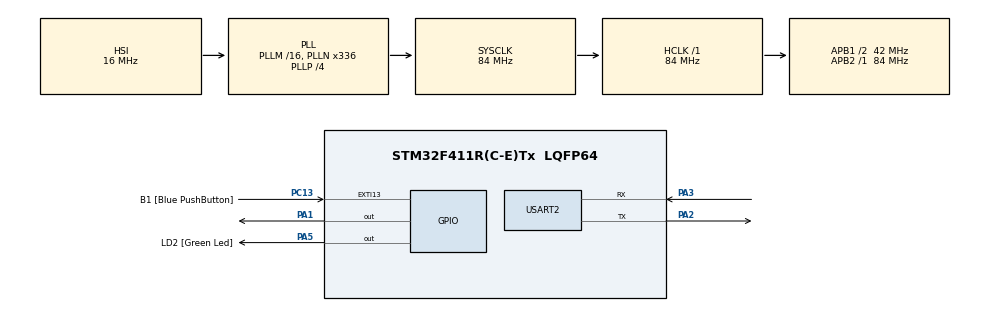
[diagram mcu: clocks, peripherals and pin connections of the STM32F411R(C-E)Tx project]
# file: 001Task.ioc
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Mcu.Family=STM32F4
Mcu.Name=STM32F411R(C-E)Tx
Mcu.Package=LQFP64
NVIC.PriorityGroup=NVIC_PRIORITYGROUP_4
NVIC.TIM1_BRK_TIM9_IRQn=true\:0\:0\:false\:false\:true\:false\:true\:true
NVIC.TimeBase=TIM1_BRK_TIM9_IRQn
NVIC.TimeBaseIP=TIM9
NVIC.USART2_IRQn=true\:0\:0\:false\:false\:true\:true\:true\:true
PA1.Signal=GPIO_Output
PA13.GPIO_Label=TMS
PA13.Signal=SYS_JTMS-SWDIO
PA14.GPIO_Label=TCK
PA14.Signal=SYS_JTCK-SWCLK
PA2.Mode=Asynchronous
PA2.Signal=USART2_TX
PA3.Mode=Asynchronous
PA3.Signal=USART2_RX
PA5.GPIO_Label=LD2 [Green Led]
PA5.Signal=GPIO_Output
PB3.GPIO_Label=SWO
PB3.Signal=SYS_JTDO-SWO
PC13-ANTI_TAMP.GPIO_Label=B1 [Blue PushButton]
PC13-ANTI_TAMP.GPIO_ModeDefaultEXTI=GPIO_MODE_IT_FALLING
PC13-ANTI_TAMP.Signal=GPXTI13
PC14-OSC32_IN.Signal=RCC_OSC32_IN
PC15-OSC32_OUT.Signal=RCC_OSC32_OUT
PH0\ -\ OSC_IN.Signal=RCC_OSC_IN
PH1\ -\ OSC_OUT.Signal=RCC_OSC_OUT
ProjectManager.HeapSize=0x200
ProjectManager.StackSize=0x400
ProjectManager.TargetToolchain=STM32CubeIDE
RCC.48MHZClocksFreq_Value=84000000
RCC.AHBFreq_Value=84000000
RCC.APB1CLKDivider=RCC_HCLK_DIV2
RCC.APB1Freq_Value=42000000
RCC.APB1TimFreq_Value=84000000
RCC.APB2Freq_Value=84000000
RCC.APB2TimFreq_Value=84000000
RCC.CortexFreq_Value=84000000
RCC.FLatency-AdvancedSettings=FLASH_LATENCY_2
RCC.HCLKFreq_Value=84000000
RCC.HSE_VALUE=8000000
RCC.HSI_VALUE=16000000
RCC.LSE_VALUE=32768
RCC.PLLN=336
RCC.PLLP=RCC_PLLP_DIV4
RCC.SYSCLKFreq_VALUE=84000000
RCC.SYSCLKSource=RCC_SYSCLKSOURCE_PLLCLK
RCC.VCOOutputFreq_Value=336000000
USART2.VirtualMode=VM_ASYNC
VP_SYS_VS_tim9.Mode=TIM9
board=NUCLEO-F411RE

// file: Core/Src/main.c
/* USER CODE BEGIN Header */
/**
  ******************************************************************************
  * @file           : main.c
  * @brief          : Main program body
  ******************************************************************************
  * @attention
  *
  * Copyright (c) 2026 STMicroelectronics.
  * All rights reserved.
  *
  * This software is licensed under terms that can be found in the LICENSE file
  * in the root directory of this software component.
  * If no LICENSE file comes with this software, it is provided AS-IS.
  *
  ******************************************************************************
  */
/* USER CODE END Header */
#include "main.h"

/* USER CODE BEGIN Includes */
#include "FreeRTOS.h"
#include "task.h"
#include "shell.h"
#include <stdio.h>
/* USER CODE END Includes */

UART_HandleTypeDef huart2;

/* USER CODE BEGIN PV */
#define DWT_CTRL (*(volatile uint32_t*)0xE0001000)
/* USER CODE END PV */

void SystemClock_Config(void);
static void MX_GPIO_Init(void);
static void MX_USART2_UART_Init(void);
/* USER CODE BEGIN PFP */
//static void task1_handler(void* parameters);
//static void task2_handler(void* parameters);
//static void task3_handler(void* parameters);

/* USER CODE END PFP */

int main(void)
{

  /* USER CODE BEGIN 1 */
	//TaskHandle_t task1_handle;
	//TaskHandle_t task2_handle;
	//TaskHandle_t task3_handle;

	BaseType_t status;
  /* USER CODE END 1 */

  /* MCU Configuration--------------------------------------------------------*/

  /* Reset of all peripherals, Initializes the Flash interface and the Systick. */
  HAL_Init();

  /* Configure the system clock */
  SystemClock_Config();

  /* Initialize all configured peripherals */
  MX_GPIO_Init();
  MX_USART2_UART_Init();
  /* USER CODE BEGIN 2 */

  DWT_CTRL |= (1<<0);

  SEGGER_SYSVIEW_Conf();

  SEGGER_SYSVIEW_Start();

  /*status = xTaskCreate(task1_handler, "Task-1", 200, "Running Task 1", 2, &task1_handle);

  configASSERT(status == pdPASS);

  status = xTaskCreate(task2_handler, "Task-2", 200, "Running Task 2", 3, &task2_handle);

  configASSERT(status == pdPASS);

  status = xTaskCreate(task3_handler, "Task-3", 200, "Running Task 3", 1, &task3_handle);*/

  HAL_NVIC_SetPriority(USART2_IRQn, 6, 0);
  HAL_NVIC_EnableIRQ(USART2_IRQn);
  xCmdQueue  = xQueueCreate(SHELL_QUEUE_LEN, SHELL_CMD_LEN);
  xUartMutex = xSemaphoreCreateMutex();
  configASSERT(xCmdQueue  != NULL);
  configASSERT(xUartMutex != NULL);

  status = xTaskCreate(shell_task, "Shell", 512, NULL, 3, NULL);

  configASSERT(status == pdPASS);

  vTaskStartScheduler();
  /* USER CODE END 2 */

  /* Infinite loop */
  while (1)
  {

  }
}

void SystemClock_Config(void)
{
  RCC_OscInitTypeDef RCC_OscInitStruct = {0};
  RCC_ClkInitTypeDef RCC_ClkInitStruct = {0};

  /** Configure the main internal regulator output voltage
  */
  __HAL_RCC_PWR_CLK_ENABLE();
  __HAL_PWR_VOLTAGESCALING_CONFIG(PWR_REGULATOR_VOLTAGE_SCALE1);

  /** Initializes the RCC Oscillators according to the specified parameters
  * in the RCC_OscInitTypeDef structure.
  */
  RCC_OscInitStruct.OscillatorType = RCC_OSCILLATORTYPE_HSI;
  RCC_OscInitStruct.HSIState = RCC_HSI_ON;
  RCC_OscInitStruct.HSICalibrationValue = RCC_HSICALIBRATION_DEFAULT;
  RCC_OscInitStruct.PLL.PLLState = RCC_PLL_ON;
  RCC_OscInitStruct.PLL.PLLSource = RCC_PLLSOURCE_HSI;
  RCC_OscInitStruct.PLL.PLLM = 16;
  RCC_OscInitStruct.PLL.PLLN = 336;
  RCC_OscInitStruct.PLL.PLLP = RCC_PLLP_DIV4;
  RCC_OscInitStruct.PLL.PLLQ = 4;
  if (HAL_RCC_OscConfig(&RCC_OscInitStruct) != HAL_OK)
  {
    Error_Handler();
  }

  /** Initializes the CPU, AHB and APB buses clocks
  */
  RCC_ClkInitStruct.ClockType = RCC_CLOCKTYPE_HCLK|RCC_CLOCKTYPE_SYSCLK
                              |RCC_CLOCKTYPE_PCLK1|RCC_CLOCKTYPE_PCLK2;
  RCC_ClkInitStruct.SYSCLKSource = RCC_SYSCLKSOURCE_PLLCLK;
  RCC_ClkInitStruct.AHBCLKDivider = RCC_SYSCLK_DIV1;
  RCC_ClkInitStruct.APB1CLKDivider = RCC_HCLK_DIV2;
  RCC_ClkInitStruct.APB2CLKDivider = RCC_HCLK_DIV1;

  if (HAL_RCC_ClockConfig(&RCC_ClkInitStruct, FLASH_LATENCY_2) != HAL_OK)
  {
    Error_Handler();
  }
}

static void MX_USART2_UART_Init(void)
{

  huart2.Instance = USART2;
  huart2.Init.BaudRate = 115200;
  huart2.Init.WordLength = UART_WORDLENGTH_8B;
  huart2.Init.StopBits = UART_STOPBITS_1;
  huart2.Init.Parity = UART_PARITY_NONE;
  huart2.Init.Mode = UART_MODE_TX_RX;
  huart2.Init.HwFlowCtl = UART_HWCONTROL_NONE;
  huart2.Init.OverSampling = UART_OVERSAMPLING_16;
  if (HAL_UART_Init(&huart2) != HAL_OK)
  {
    Error_Handler();
  }

}

static void MX_GPIO_Init(void)
{
  GPIO_InitTypeDef GPIO_InitStruct = {0};

  /* GPIO Ports Clock Enable */
  __HAL_RCC_GPIOC_CLK_ENABLE();
  __HAL_RCC_GPIOH_CLK_ENABLE();
  __HAL_RCC_GPIOA_CLK_ENABLE();
  __HAL_RCC_GPIOB_CLK_ENABLE();

  /*Configure GPIO pin Output Level */
  HAL_GPIO_WritePin(GPIOA, GPIO_PIN_1|LD2_Pin, GPIO_PIN_RESET);

  /*Configure GPIO pin : B1_Pin */
  GPIO_InitStruct.Pin = B1_Pin;
  GPIO_InitStruct.Mode = GPIO_MODE_IT_FALLING;
  GPIO_InitStruct.Pull = GPIO_NOPULL;
  HAL_GPIO_Init(B1_GPIO_Port, &GPIO_InitStruct);

  /*Configure GPIO pins : PA1 LD2_Pin */
  GPIO_InitStruct.Pin = GPIO_PIN_1|LD2_Pin;
  GPIO_InitStruct.Mode = GPIO_MODE_OUTPUT_PP;
  GPIO_InitStruct.Pull = GPIO_NOPULL;
  GPIO_InitStruct.Speed = GPIO_SPEED_FREQ_LOW;
  HAL_GPIO_Init(GPIOA, &GPIO_InitStruct);

}

/* USER CODE BEGIN 4 */
/*static void task1_handler(void* parameters){
	while(1){
		HAL_GPIO_TogglePin(LD2_GPIO_Port, LD2_Pin);
		vTaskDelay(pdMS_TO_TICKS(200));
		printf("%s", (char*)parameters);

		//taskYIELD();
	}
}

static void task2_handler(void* parameters){
	while(1){
		HAL_GPIO_TogglePin(LD2_GPIO_Port, LD2_Pin);
				vTaskDelay(pdMS_TO_TICKS(500));
				printf("%s", (char*)parameters);
			//	taskYIELD();
	}
}

static void task3_handler(void* parameters){
	while(1){
		HAL_GPIO_TogglePin(LD2_GPIO_Port, LD2_Pin);
				vTaskDelay(pdMS_TO_TICKS(1000));
				printf("%s", (char*)parameters);

				taskYIELD();
	}
}*/
/* USER CODE END 4 */

void HAL_TIM_PeriodElapsedCallback(TIM_HandleTypeDef *htim)
{
  if (htim->Instance == TIM9)
  {
    HAL_IncTick();
  }
}

void Error_Handler(void)
{
  __disable_irq();
  while (1)
  {
  }
}
